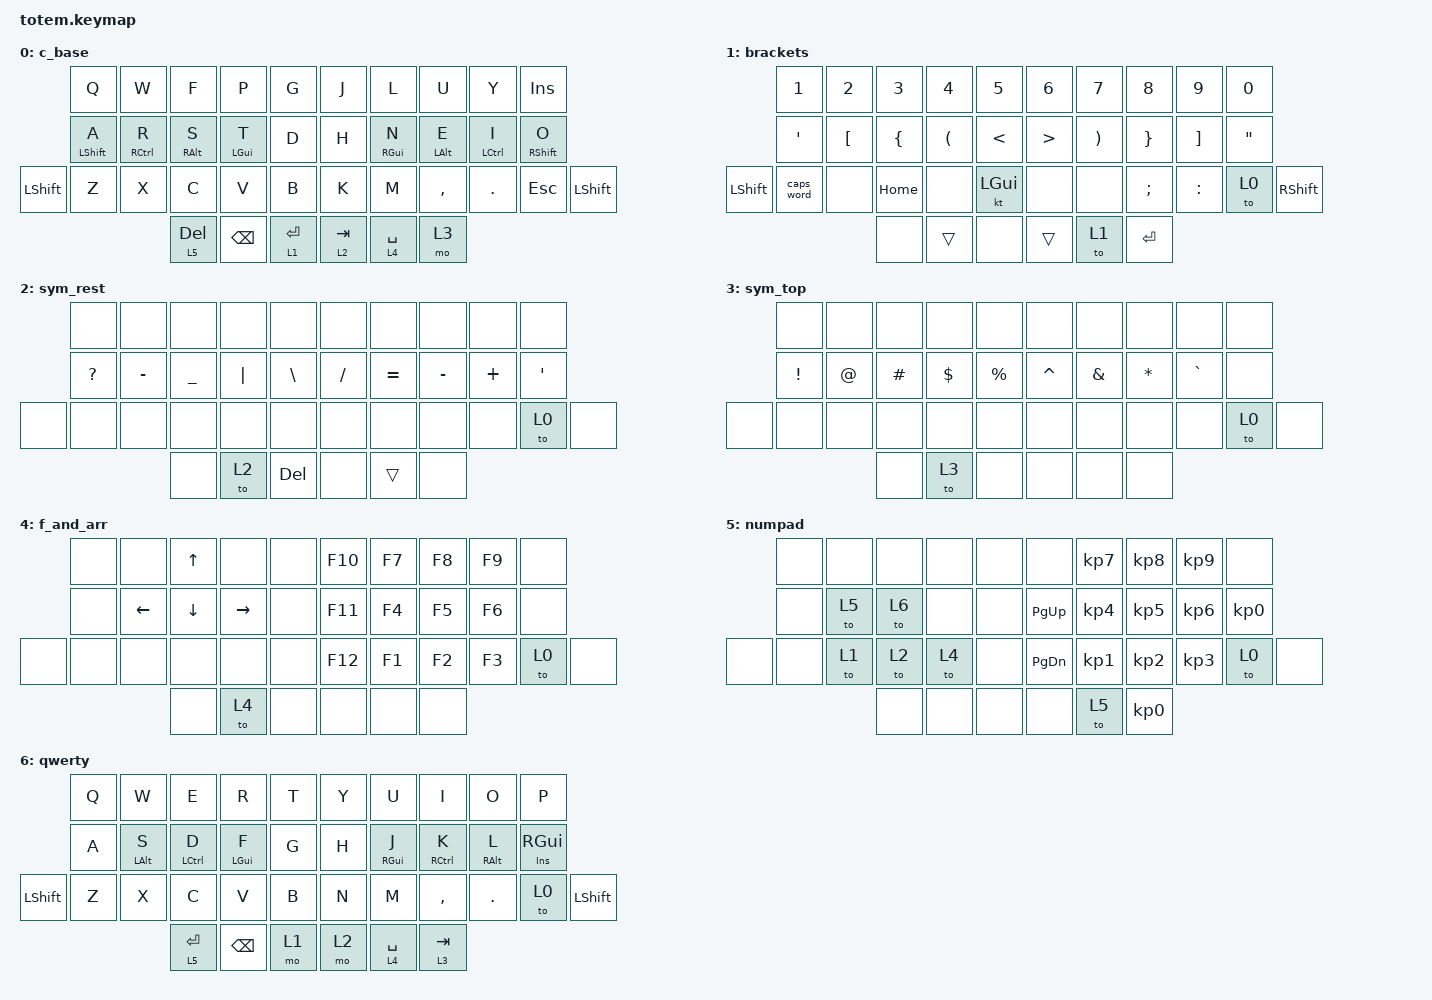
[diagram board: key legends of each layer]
//
//                                                        ▀▀▀▀▀     ▀▀▀▀▀          ▀▀█▀▀
//                                                        ▄▀▀▀▄  ▄  ▄▀▀▀▄  ▄  ▄▀▀▀▄  █  ▄▀▀▀▄
//                                                        █   █  █  █   █  █  █   █  █  █   █
//                                                         ▀▀▀   █   ▀▀▀   █   ▀▀▀   ▀   ▀▀▀
//                                                               █      ▄▄▄█▄▄▄    █   █  
//                                                               ▀      █  █  █     █▄█
//                                                             ▀▀▀▀▀    █  █  █      ▀
//                                                                      ▀  ▀  ▀
//
// ▄▄▄▄▄▄▄▄▄▄▄▄▄▄▄▄▄▄▄▄▄▄▄▄▄▄▄▄▄▄▄▄▄▄▄▄▄▄▄▄▄▄▄▄▄▄▄▄▄▄▄▄▄▄▄▄▄▄▄▄▄▄▄▄▄▄▄▄▄▄▄▄▄▄▄▄▄▄▄▄▄▄▄▄▄▄▄▄▄▄▄▄▄▄▄▄▄▄▄▄▄▄▄▄▄▄▄▄▄▄▄▄▄▄▄▄▄▄▄▄▄▄▄▄▄▄▄▄▄▄▄▄▄▄▄▄▄▄▄▄▄▄▄▄▄▄▄▄▄

#include <behaviors.dtsi>
#include <dt-bindings/zmk/keys.h>

#define BASE 0
#define NAV  1
#define SYM  2
#define ADJ  3
#define TVP1 4
#define TVP2 5

&mt {
    quick-tap-ms = <150>;
    global-quick-tap;
    flavor = "tap-preferred";
    tapping-term-ms = <200>;
};

/ {
    combos {
        compatible = "zmk,combos";

        combo_esc {
            timeout-ms = <50>;
            key-positions = <0 1>;
            bindings = <&kp ESC>;
        };

        enter_left {
            timeout-ms = <100>;
            key-positions = <11 12 13>;
            bindings = <&kp ENTER>;
        };

        enter_right {
            bindings = <&kp ENTER>;
            key-positions = <16 17 18>;
        };

        caps {
            bindings = <&kp CAPSLOCK>;
            key-positions = <20 31>;
        };

        ae {
            bindings = <&none>;
            key-positions = <10 11>;
        };

        oe {
            bindings = <&none>;
            key-positions = <11 12>;
        };

        ue {
            bindings = <&none>;
            key-positions = <12 13>;
        };

        back_to_c_base {
            bindings = <&to 0>;
            key-positions = <10 11 12 13 16 17 18 19>;
        };
    };

    macros {
        ae: ae {
            compatible = "zmk,behavior-macro";
            #binding-cells = <0>;
            bindings = <&kp LEFT_ALT &kp N1 &kp N2 &kp N4>;
            label = "AE";
        };
    };

    keymap {
        compatible = "zmk,keymap";

        // ▄▄▄▄▄▄▄▄▄▄▄▄▄▄▄▄▄▄▄▄▄▄▄▄▄▄▄▄▄▄▄▄▄▄▄▄▄▄▄▄▄▄▄▄▄▄▄▄▄▄▄▄▄▄▄▄▄▄▄▄▄▄▄▄▄▄▄▄▄▄▄▄▄▄▄▄▄▄▄▄▄▄▄▄▄▄▄▄▄▄▄▄▄▄▄▄▄▄▄▄▄▄▄▄▄▄▄▄▄▄▄▄▄▄▄▄▄▄▄▄▄▄▄▄▄▄▄▄▄▄▄▄▄▄▄▄▄▄▄▄▄▄▄▄▄▄▄▄▄

        colemak_base {
            label = "c_base";
            bindings = <
           &kp Q             &kp W        &kp F            &kp P           &kp G          &kp J      &kp L            &kp U           &kp Y               &kp INS
           &mt LEFT_SHIFT A  &mt RCTRL R  &mt RIGHT_ALT S  &mt LEFT_GUI T  &kp D          &kp H      &mt RIGHT_GUI N  &mt LEFT_ALT E  &mt LEFT_CONTROL I  &mt RIGHT_SHIFT O
&kp LSHFT  &kp Z             &kp X        &kp C            &kp V           &kp B          &kp K      &kp M            &kp COMMA       &kp DOT             &kp ESCAPE         &kp LSHFT
                                          &lt 5 DELETE     &kp BACKSPACE   &lt 1 ENTER    &lt 2 TAB  &lt 4 SPACE      &mo 3
            >;
        };

        brackets {
            // ┏━━━━━━━━━━━━━━━━━━━━━━━━━━━━━━━━━━━━━━━┓

            label = "brackets";

            // ┗━━━━━━━━━━━━━━━━━━━━━━━━━━━━━━━━━━━━━━━┛
            //             ┏━━━━━━━━━━━┳━━━━━━━━━━━┳━━━━━━━━━━━┳━━━━━━━━━━━┳━━━━━━━━━━━┓   ┏━━━━━━━━━━━┳━━━━━━━━━━━┳━━━━━━━━━━━┳━━━━━━━━━━━┳━━━━━━━━━━━┓
            //             ┃           ┃           ┃     UP    ┃           ┃     {     ┃   ┃     }     ┃     7     ┃     8     ┃     9     ┃     +     ┃
            //             ┣━━━━━━━━━━━╋━━━━━━━━━━━╋━━━━━━━━━━━╋━━━━━━━━━━━╋━━━━━━━━━━━┫   ┣━━━━━━━━━━━╋━━━━━━━━━━━╋━━━━━━━━━━━╋━━━━━━━━━━━╋━━━━━━━━━━━┫
            //             ┃   SHIFT   ┃   LEFT    ┃    DOWN   ┃   RIGHT   ┃     [     ┃   ┃     ]     ┃     4     ┃     5     ┃     6     ┃     -     ┃
            // ┏━━━━━━━━━━━╋━━━━━━━━━━━╋━━━━━━━━━━━╋━━━━━━━━━━━╋━━━━━━━━━━━╋━━━━━━━━━━━┫   ┣━━━━━━━━━━━╋━━━━━━━━━━━╋━━━━━━━━━━━╋━━━━━━━━━━━╋━━━━━━━━━━━╋━━━━━━━━━━━┓
            // ┃           ┃           ┃   P UP    ┃  C LOCK   ┃  P DOWN   ┃     (     ┃   ┃     )     ┃     1     ┃     2     ┃     3     ┃     *     ┃           ┃
            // ┗━━━━━━━━━━━┻━━━━━━━━━━━┻━━━━━━━━━━━╋━━━━━━━━━━━╋━━━━━━━━━━━╋━━━━━━━━━━━┫   ┣━━━━━━━━━━━╋━━━━━━━━━━━╋━━━━━━━━━━━╋━━━━━━━━━━━┻━━━━━━━━━━━┻━━━━━━━━━━━┛
            //                                     ┃           ┃    TAB    ┃    SPC    ┃   ┃    DEL    ┃     0     ┃           ┃
            //                                     ┗━━━━━━━━━━━┻━━━━━━━━━━━┻━━━━━━━━━━━┛   ┗━━━━━━━━━━━┻━━━━━━━━━━━┻━━━━━━━━━━━┛

            bindings = <
                &kp N1            &kp N2    &kp N3          &kp N4                &kp N5           &kp N6            &kp N7                 &kp N8           &kp N9             &kp N0
                &kp SINGLE_QUOTE  &kp LBKT  &kp LEFT_BRACE  &kp LEFT_PARENTHESIS  &kp LESS_THAN    &kp GREATER_THAN  &kp RIGHT_PARENTHESIS  &kp RIGHT_BRACE  &kp RIGHT_BRACKET  &kp DOUBLE_QUOTES
&kp LEFT_SHIFT  &caps_word        &none     &kp HOME        &none                 &kt LEFT_GUI     &none             &none                  &kp SEMICOLON    &kp COLON          &to 0              &kp RIGHT_SHIFT
                                            &none           &trans                &none            &trans            &to 1                  &kp ENTER
            >;
        };

        symbols_rest {
            // ┏━━━━━━━━━━━━━━━━━━━━━━━━━━━━━━━━━━━━━━━┓

            label = "sym_rest";

            // ┗━━━━━━━━━━━━━━━━━━━━━━━━━━━━━━━━━━━━━━━┛
            //             ┏━━━━━━━━━━━┳━━━━━━━━━━━┳━━━━━━━━━━━┳━━━━━━━━━━━┳━━━━━━━━━━━┓   ┏━━━━━━━━━━━┳━━━━━━━━━━━┳━━━━━━━━━━━┳━━━━━━━━━━━┳━━━━━━━━━━━┓
            //             ┃     !     ┃     @     ┃     #     ┃     $     ┃     %     ┃   ┃     ˆ     ┃     &     ┃     Ü     ┃     '     ┃     "     ┃
            //             ┣━━━━━━━━━━━╋━━━━━━━━━━━╋━━━━━━━━━━━╋━━━━━━━━━━━╋━━━━━━━━━━━┫   ┣━━━━━━━━━━━╋━━━━━━━━━━━╋━━━━━━━━━━━╋━━━━━━━━━━━╋━━━━━━━━━━━┫
            //             ┃     Ä     ┃           ┃    SZ     ┃           ┃           ┃   ┃   MUTE    ┃   YEN     ┃   EURO    ┃  POUND    ┃     Ö     ┃
            // ┏━━━━━━━━━━━╋━━━━━━━━━━━╋━━━━━━━━━━━╋━━━━━━━━━━━╋━━━━━━━━━━━╋━━━━━━━━━━━┫   ┣━━━━━━━━━━━╋━━━━━━━━━━━╋━━━━━━━━━━━╋━━━━━━━━━━━╋━━━━━━━━━━━╋━━━━━━━━━━━┓
            // ┃           ┃  EMAIL1   ┃  EMAIL2   ┃           ┃           ┃           ┃   ┃   VOL-    ┃   VOL+    ┃   LAST    ┃   NEXT    ┃     \     ┃           ┃
            // ┗━━━━━━━━━━━┻━━━━━━━━━━━┻━━━━━━━━━━━╋━━━━━━━━━━━╋━━━━━━━━━━━╋━━━━━━━━━━━┫   ┣━━━━━━━━━━━╋━━━━━━━━━━━╋━━━━━━━━━━━╋━━━━━━━━━━━┻━━━━━━━━━━━┻━━━━━━━━━━━┛
            //                                     ┃           ┃    GIF    ┃    ADJ    ┃   ┃           ┃           ┃           ┃
            //                                     ┗━━━━━━━━━━━┻━━━━━━━━━━━┻━━━━━━━━━━━┛   ┗━━━━━━━━━━━┻━━━━━━━━━━━┻━━━━━━━━━━━┛

            bindings = <
       &none         &none      &none      &none     &none            &none      &none      &none      &none     &none
       &kp QUESTION  &kp MINUS  &kp UNDER  &kp PIPE  &kp BACKSLASH    &kp SLASH  &kp EQUAL  &kp MINUS  &kp PLUS  &kp SINGLE_QUOTE
&none  &none         &none      &none      &none     &none            &none      &none      &none      &none     &to 0             &none
                                &none      &to 2     &kp DELETE       &none      &trans     &none
            >;
        };

        symbols_top_layer {
            label = "sym_top";
            bindings = <
       &none     &none   &none     &none       &none          &none      &none          &none         &none      &none
       &kp EXCL  &kp AT  &kp HASH  &kp DOLLAR  &kp PERCENT    &kp CARET  &kp AMPERSAND  &kp ASTERISK  &kp GRAVE  &none
&none  &none     &none   &none     &none       &none          &none      &none          &none         &none      &to 0  &none
                         &none     &to 3       &none          &none      &none          &none
            >;
        };

        f_numpad_and_arrows {
            // ┏━━━━━━━━━━━━━━━━━━━━━━━━━━━━━━━━━━━━━━━┓

            label = "f_and_arr";

            // ┗━━━━━━━━━━━━━━━━━━━━━━━━━━━━━━━━━━━━━━━┛
            //             ┏━━━━━━━━━━━┳━━━━━━━━━━━┳━━━━━━━━━━━┳━━━━━━━━━━━┳━━━━━━━━━━━┓   ┏━━━━━━━━━━━┳━━━━━━━━━━━┳━━━━━━━━━━━┳━━━━━━━━━━━┳━━━━━━━━━━━┓
            //             ┃   RESET   ┃ BT CLEAR  ┃  OUT TOG  ┃           ┃           ┃   ┃           ┃    F7     ┃    F8     ┃    F9     ┃    F12    ┃
            //             ┣━━━━━━━━━━━╋━━━━━━━━━━━╋━━━━━━━━━━━╋━━━━━━━━━━━╋━━━━━━━━━━━┫   ┣━━━━━━━━━━━╋━━━━━━━━━━━╋━━━━━━━━━━━╋━━━━━━━━━━━╋━━━━━━━━━━━┫
            //             ┃ BOOTLOAD  ┃ BT NEXT   ┃           ┃           ┃           ┃   ┃           ┃    F4     ┃    F5     ┃    F6     ┃    F11    ┃
            // ┏━━━━━━━━━━━╋━━━━━━━━━━━╋━━━━━━━━━━━╋━━━━━━━━━━━╋━━━━━━━━━━━╋━━━━━━━━━━━┫   ┣━━━━━━━━━━━╋━━━━━━━━━━━╋━━━━━━━━━━━╋━━━━━━━━━━━╋━━━━━━━━━━━╋━━━━━━━━━━━┓
            // ┃           ┃           ┃ BT PREV   ┃           ┃           ┃           ┃   ┃           ┃    F1     ┃    F2     ┃    F3     ┃    F10    ┃           ┃
            // ┗━━━━━━━━━━━┻━━━━━━━━━━━┻━━━━━━━━━━━╋━━━━━━━━━━━╋━━━━━━━━━━━╋━━━━━━━━━━━┫   ┣━━━━━━━━━━━╋━━━━━━━━━━━╋━━━━━━━━━━━╋━━━━━━━━━━━┻━━━━━━━━━━━┻━━━━━━━━━━━┛
            //                                     ┃           ┃           ┃           ┃   ┃           ┃           ┃           ┃
            //                                     ┗━━━━━━━━━━━┻━━━━━━━━━━━┻━━━━━━━━━━━┛   ┗━━━━━━━━━━━┻━━━━━━━━━━━┻━━━━━━━━━━━┛

            bindings = <
       &none  &none     &kp UP_ARROW  &none      &none    &kp F10  &kp F7  &kp F8  &kp F9  &none
       &none  &kp LEFT  &kp DOWN      &kp RIGHT  &none    &kp F11  &kp F4  &kp F5  &kp F6  &none
&none  &none  &none     &none         &none      &none    &kp F12  &kp F1  &kp F2  &kp F3  &to 0  &none
                        &none         &to 4      &none    &none    &none   &none
            >;
        };

        numpad {
            // ┏━━━━━━━━━━━━━━━━━━━━━━━━━━━━━━━━━━━━━━━┓

            label = "numpad";

            // ┗━━━━━━━━━━━━━━━━━━━━━━━━━━━━━━━━━━━━━━━┛
            //             ┏━━━━━━━━━━━┳━━━━━━━━━━━┳━━━━━━━━━━━┳━━━━━━━━━━━┳━━━━━━━━━━━┓   ┏━━━━━━━━━━━┳━━━━━━━━━━━┳━━━━━━━━━━━┳━━━━━━━━━━━┳━━━━━━━━━━━┓
            //             ┃ NEXT FILE ┃ MARK IN   ┃ ROTATE    ┃ MARK OUT  ┃ SHOW SNAP ┃   ┃           ┃           ┃           ┃           ┃           ┃
            //             ┣━━━━━━━━━━━╋━━━━━━━━━━━╋━━━━━━━━━━━╋━━━━━━━━━━━╋━━━━━━━━━━━┫   ┣━━━━━━━━━━━╋━━━━━━━━━━━╋━━━━━━━━━━━╋━━━━━━━━━━━╋━━━━━━━━━━━┫
            //             ┃ TVP II    ┃ LEFT      ┃ PAN       ┃ RIGHT     ┃ PLAY/FLIP ┃   ┃           ┃           ┃           ┃           ┃           ┃
            // ┏━━━━━━━━━━━╋━━━━━━━━━━━╋━━━━━━━━━━━╋━━━━━━━━━━━╋━━━━━━━━━━━╋━━━━━━━━━━━┫   ┣━━━━━━━━━━━╋━━━━━━━━━━━╋━━━━━━━━━━━╋━━━━━━━━━━━╋━━━━━━━━━━━╋━━━━━━━━━━━┓
            // ┃ FULLSCR   ┃ SHIFT     ┃ COPY      ┃ DELETE    ┃ PASTE     ┃ IMG MARK  ┃   ┃           ┃           ┃           ┃           ┃           ┃           ┃
            // ┗━━━━━━━━━━━┻━━━━━━━━━━━┻━━━━━━━━━━━╋━━━━━━━━━━━╋━━━━━━━━━━━╋━━━━━━━━━━━┫   ┣━━━━━━━━━━━╋━━━━━━━━━━━╋━━━━━━━━━━━╋━━━━━━━━━━━┻━━━━━━━━━━━┻━━━━━━━━━━━┛
            //                                     ┃           ┃ UNDO/SAVE ┃  SEL/MOV  ┃   ┃           ┃           ┃           ┃
            //                                     ┗━━━━━━━━━━━┻━━━━━━━━━━━┻━━━━━━━━━━━┛   ┗━━━━━━━━━━━┻━━━━━━━━━━━┻━━━━━━━━━━━┛

            bindings = <
       &none  &none  &none  &none  &none    &none          &kp KP_NUMBER_7  &kp KP_NUMBER_8  &kp KP_NUMBER_9  &none
       &none  &to 5  &to 6  &none  &none    &kp PAGE_UP    &kp KP_NUMBER_4  &kp KP_NUMBER_5  &kp KP_NUMBER_6  &kp KP_N0
&none  &none  &to 1  &to 2  &to 4  &none    &kp PAGE_DOWN  &kp KP_NUMBER_1  &kp KP_NUMBER_2  &kp KP_NUMBER_3  &to 0      &none
                     &none  &none  &none    &none          &to 5            &kp KP_N0
            >;
        };

        qwerty {
            // ┏━━━━━━━━━━━━━━━━━━━━━━━━━━━━━━━━━━━━━━━┓

            label = "qwerty";

            // ┗━━━━━━━━━━━━━━━━━━━━━━━━━━━━━━━━━━━━━━━┛
            //             ┏━━━━━━━━━━━┳━━━━━━━━━━━┳━━━━━━━━━━━┳━━━━━━━━━━━┳━━━━━━━━━━━┓   ┏━━━━━━━━━━━┳━━━━━━━━━━━┳━━━━━━━━━━━┳━━━━━━━━━━━┳━━━━━━━━━━━┓
            //             ┃     Q     ┃     W     ┃     F     ┃     P     ┃     G     ┃   ┃     J     ┃     L     ┃     U     ┃     Y     ┃     ;     ┃
            //             ┣━━━━━━━━━━━╋━━━━━━━━━━━╋━━━━━━━━━━━╋━━━━━━━━━━━╋━━━━━━━━━━━┫   ┣━━━━━━━━━━━╋━━━━━━━━━━━╋━━━━━━━━━━━╋━━━━━━━━━━━╋━━━━━━━━━━━┫
            //             ┃     A     ┃     R     ┃     S     ┃     T     ┃     D     ┃   ┃     H     ┃     N     ┃     E     ┃     I     ┃     O     ┃
            // ┏━━━━━━━━━━━╋━━━━━━━━━━━╋━━━━━━━━━━━╋━━━━━━━━━━━╋━━━━━━━━━━━╋━━━━━━━━━━━┫   ┣━━━━━━━━━━━╋━━━━━━━━━━━╋━━━━━━━━━━━╋━━━━━━━━━━━╋━━━━━━━━━━━╋━━━━━━━━━━━┓
            // ┃     Q     ┃     Z     ┃     X     ┃     C     ┃     V     ┃     B     ┃   ┃     K     ┃     M     ┃     ,     ┃     .     ┃     /     ┃     \     ┃
            // ┗━━━━━━━━━━━┻━━━━━━━━━━━┻━━━━━━━━━━━╋━━━━━━━━━━━╋━━━━━━━━━━━╋━━━━━━━━━━━┫   ┣━━━━━━━━━━━╋━━━━━━━━━━━╋━━━━━━━━━━━╋━━━━━━━━━━━┻━━━━━━━━━━━┻━━━━━━━━━━━┛
            //                                     ┃    DEL    ┃    TAB    ┃    SPC    ┃   ┃   ENTER   ┃           ┃   BSPC    ┃
            //                                     ┗━━━━━━━━━━━┻━━━━━━━━━━━┻━━━━━━━━━━━┛   ┗━━━━━━━━━━━┻━━━━━━━━━━━┻━━━━━━━━━━━┛

            bindings = <
           &kp Q  &kp W           &kp E        &kp R           &kp T    &kp Y  &kp U            &kp I                &kp O            &kp P
           &kp A  &mt LEFT_ALT S  &mt LCTRL D  &mt LEFT_GUI F  &kp G    &kp H  &mt RIGHT_GUI J  &mt RIGHT_CONTROL K  &mt RIGHT_ALT L  &mt INSERT RIGHT_GUI
&kp LSHFT  &kp Z  &kp X           &kp C        &kp V           &kp B    &kp N  &kp M            &kp COMMA            &kp DOT          &to 0                 &kp LSHFT
                                  &lt 5 ENTER  &kp BACKSPACE   &mo 1    &mo 2  &lt 4 SPACE      &lt 3 TAB
            >;
        };
    };
};
